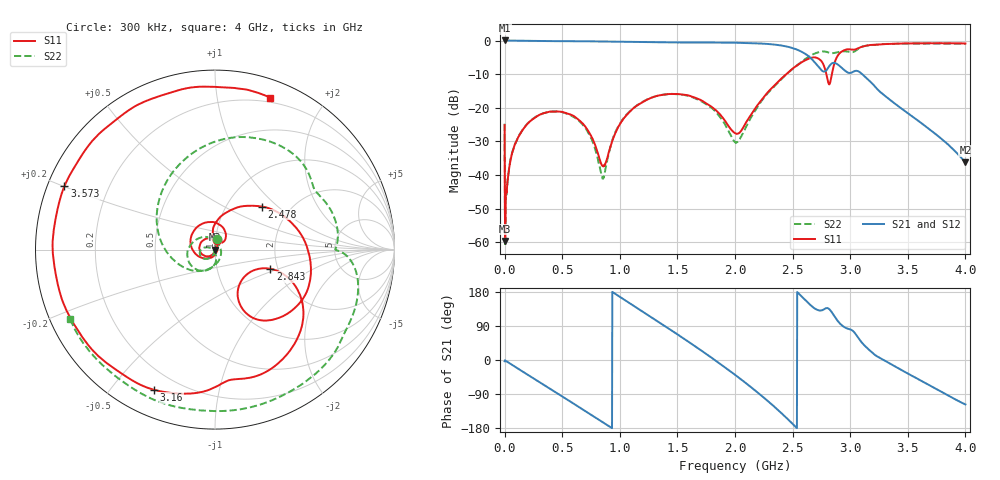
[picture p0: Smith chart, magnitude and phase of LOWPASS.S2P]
!Agilent Technologies,E5071C,MY46106184,A.09.10
!Date: Mon Jan 01 00:17:46 2001
!Data & Calibration Information:
!Freq	S11:SOLT2(ON)	S21:SOLT2(ON)	S12:SOLT2(ON)	S22:SOLT2(ON)
# Hz S dB R 50
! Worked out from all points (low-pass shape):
!   1601 points, 300 kHz to 4 GHz, reference 50 ohm
!   highest |S21| = 0.02 dB at 2.8 MHz (marker M1); lowest = -36.2 dB at 4 GHz (marker M2)
!   |S21| within 3 dB of the highest: start of sweep to 2.557 GHz
!   lowest |S11| = -59.5 dB at 5.3 MHz (marker M3), VSWR 1.00, Z = 49.9 - j0.0136 ohm
!   |S11| at or under -10 dB: start of sweep to 2.446 GHz; 2.793 GHz to 2.841 GHz (48.07 MHz wide, 1.71 % of centre)
!   |S22| runs from -61.1 to -0.9 dB; largest |S21 - S12| = 0.0024
!   S11 on the Smith chart (normalised r, x): 300 kHz: 1.01, +0.11; 2.478 GHz: 1.45, +0.80; 2.843 GHz: 1.82, -0.43; 3.16 GHz: 0.11, -0.65; 3.573 GHz: 0.05, +0.20; 4 GHz: 0.16, +1.42
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300000  -25.12 80.2  -0.06 -3.3  -0.06 -3.3  -24.73 80.9
2799813  -50.27 101.4  0.02 -0.9  0.02 -0.9  -50.29 103.0
5299625  -59.54 -172.6  0.01 -1.3  0.02 -1.2  -61.11 176.4
2.279831e7  -43.16 -105.4  -0.00 -4.5  -0.00 -4.5  -43.12 -98.7
9.279306e7  -30.62 -115.9  -0.04 -18.2  -0.04 -18.2  -30.67 -107.5
2.702798e8  -22.76 -155.5  -0.12 -52.2  -0.12 -52.3  -22.68 -134.8
6.677499e8  -24.33 105.4  -0.22 -128.4  -0.22 -128.4  -24.66 168.4
8.552359e8  -37.37 -10.3  -0.26 -164.7  -0.26 -164.7  -40.85 -138.1
1.022723e9  -23.71 -130.8  -0.33 162.4  -0.33 162.4  -23.55 -85.9
1.3352e9  -16.37 150.3  -0.51 100.7  -0.51 100.7  -16.35 -133.8
1.715171e9  -17.91 67.7  -0.60 23.4  -0.59 23.3  -18.22 155.6
2.00015e9  -27.54 62.9  -0.65 -39.0  -0.64 -39.0  -30.16 33.5
2.240132e9  -17.27 91.3  -0.92 -96.7  -0.92 -96.7  -17.51 -118.7
2.477614e9  -9.00 42.5  -2.02 -161.8  -2.01 -161.8  -9.08 156.9
2.6676e9  -5.09 -18.1  -5.55 141.6  -5.53 141.6  -4.28 87.3
2.755093e9  -6.35 -55.2  -8.95 131.1  -8.94 130.9  -3.27 54.9
2.842587e9  -9.75 -19.1  -6.76 124.8  -6.75 124.8  -3.77 30.9
2.917581e9  -3.50 -45.8  -7.84 94.3  -7.82 94.2  -3.28 17.0
3.160063e9  -1.40 -113.4  -11.77 28.0  -11.75 27.7  -1.44 -23.4
3.33505e9  -1.01 -153.8  -17.34 -7.8  -17.34 -8.1  -1.00 -53.9
3.572532e9  -0.81 157.2  -23.39 -47.5  -23.39 -47.9  -0.92 -89.2
4e9  -0.91 70.0  -36.23 -117.2  -36.28 -117.5  -0.95 -154.6
